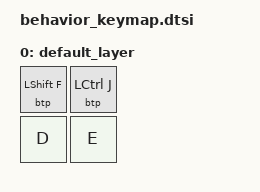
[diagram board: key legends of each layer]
#include <dt-bindings/zmk/keys.h>
#include <behaviors.dtsi>
#include <dt-bindings/zmk/kscan_mock.h>

/ {
    behaviors {
        btp: behavior_bilateral_tap_preferred {
            compatible = "zmk,behavior-hold-tap-bilateral";
            #binding-cells = <2>;
            flavor = "tap-preferred";
            tapping-term-ms = <300>;
            quick-tap-ms = <200>;
            bindings = <&kp>, <&kp>;
            hold-trigger-key-positions = <2>;
            hold-trigger-on-release;
        };
    };

    keymap {
        compatible = "zmk,keymap";

        default_layer {
            bindings = <
                &btp LEFT_SHIFT F &btp LEFT_CONTROL J
                &kp D &kp E>;
        };
    };
};
